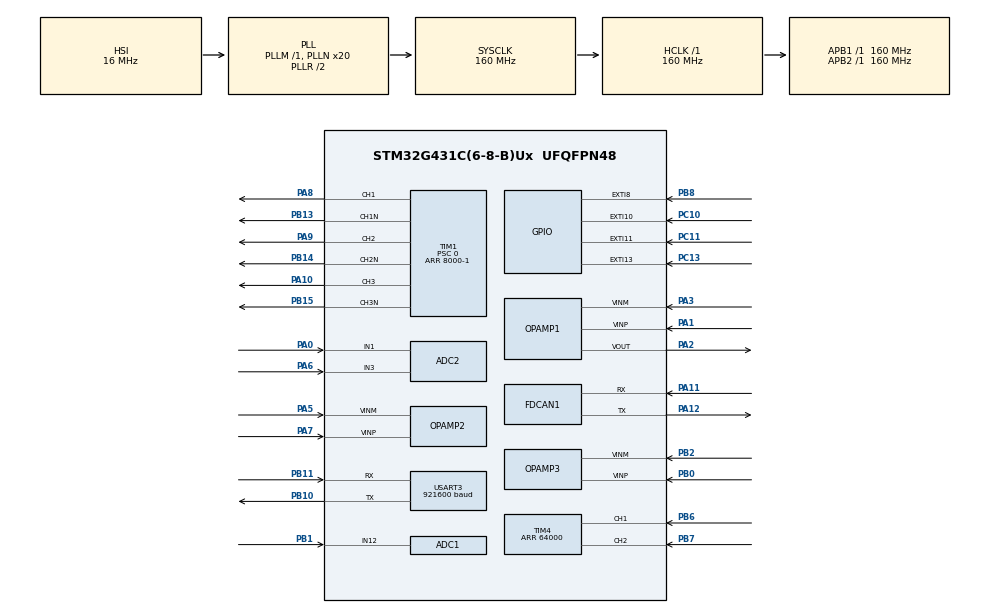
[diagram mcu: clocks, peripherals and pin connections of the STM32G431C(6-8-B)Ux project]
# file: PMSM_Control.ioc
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ADC1.EnableInjectedConversion=ENABLE
ADC1.EnableRegularConversion=DISABLE
ADC1.ExternalTrigInjecConv=ADC_EXTERNALTRIGINJEC_T1_CC4
ADC1.ExternalTrigInjecConvEdge=ADC_EXTERNALTRIGINJECCONV_EDGE_FALLING
ADC1.InjNumberOfConversion=2
ADC1.InjectedChannel-1\#ChannelInjectedConversion=ADC_CHANNEL_3
ADC1.InjectedChannel-2\#ChannelInjectedConversion=ADC_CHANNEL_12
ADC1.InjectedOffsetNumber-1\#ChannelInjectedConversion=ADC_OFFSET_NONE
ADC1.InjectedOffsetNumber-2\#ChannelInjectedConversion=ADC_OFFSET_NONE
ADC1.InjectedRank-1\#ChannelInjectedConversion=1
ADC1.InjectedRank-2\#ChannelInjectedConversion=2
ADC1.InjectedSamplingTime-1\#ChannelInjectedConversion=ADC_SAMPLETIME_24CYCLES_5
ADC1.InjectedSamplingTime-2\#ChannelInjectedConversion=ADC_SAMPLETIME_12CYCLES_5
ADC1.Rank1_Channel=ADC_CHANNEL_3
ADC1.Rank2_Channel=ADC_CHANNEL_12
ADC1.master=1
ADC2.EnableInjectedConversion=ENABLE
ADC2.EnableRegularConversion=DISABLE
ADC2.ExternalTrigInjecConv=ADC_EXTERNALTRIGINJEC_T1_CC4
ADC2.ExternalTrigInjecConvEdge=ADC_EXTERNALTRIGINJECCONV_EDGE_FALLING
ADC2.InjNumberOfConversion=2
ADC2.InjectedChannel-1\#ChannelInjectedConversion=ADC_CHANNEL_3
ADC2.InjectedChannel-3\#ChannelInjectedConversion=ADC_CHANNEL_1
ADC2.InjectedOffsetNumber-1\#ChannelInjectedConversion=ADC_OFFSET_NONE
ADC2.InjectedOffsetNumber-3\#ChannelInjectedConversion=ADC_OFFSET_NONE
ADC2.InjectedRank-1\#ChannelInjectedConversion=1
ADC2.InjectedRank-3\#ChannelInjectedConversion=2
ADC2.InjectedSamplingTime-1\#ChannelInjectedConversion=ADC_SAMPLETIME_24CYCLES_5
ADC2.InjectedSamplingTime-3\#ChannelInjectedConversion=ADC_SAMPLETIME_24CYCLES_5
ADC2.Rank2_Channel=ADC_CHANNEL_1
Dma.Request0=USART3_RX
Dma.Request1=USART3_TX
Dma.USART3_RX.0.Direction=DMA_PERIPH_TO_MEMORY
Dma.USART3_RX.0.EventEnable=DISABLE
Dma.USART3_RX.0.Instance=DMA1_Channel1
Dma.USART3_RX.0.MemDataAlignment=DMA_MDATAALIGN_BYTE
Dma.USART3_RX.0.MemInc=DMA_MINC_ENABLE
Dma.USART3_RX.0.Mode=DMA_NORMAL
Dma.USART3_RX.0.PeriphDataAlignment=DMA_PDATAALIGN_BYTE
Dma.USART3_RX.0.PeriphInc=DMA_PINC_DISABLE
Dma.USART3_RX.0.Polarity=HAL_DMAMUX_REQ_GEN_RISING
Dma.USART3_RX.0.Priority=DMA_PRIORITY_LOW
Dma.USART3_RX.0.RequestNumber=1
Dma.USART3_RX.0.SignalID=NONE
Dma.USART3_RX.0.SyncEnable=DISABLE
Dma.USART3_RX.0.SyncPolarity=HAL_DMAMUX_SYNC_NO_EVENT
Dma.USART3_RX.0.SyncRequestNumber=1
Dma.USART3_RX.0.SyncSignalID=NONE
Dma.USART3_TX.1.Direction=DMA_MEMORY_TO_PERIPH
Dma.USART3_TX.1.EventEnable=DISABLE
Dma.USART3_TX.1.Instance=DMA1_Channel2
Dma.USART3_TX.1.MemDataAlignment=DMA_MDATAALIGN_BYTE
Dma.USART3_TX.1.MemInc=DMA_MINC_ENABLE
Dma.USART3_TX.1.Mode=DMA_NORMAL
Dma.USART3_TX.1.PeriphDataAlignment=DMA_PDATAALIGN_BYTE
Dma.USART3_TX.1.PeriphInc=DMA_PINC_DISABLE
Dma.USART3_TX.1.Polarity=HAL_DMAMUX_REQ_GEN_RISING
Dma.USART3_TX.1.Priority=DMA_PRIORITY_LOW
Dma.USART3_TX.1.RequestNumber=1
Dma.USART3_TX.1.SignalID=NONE
Dma.USART3_TX.1.SyncEnable=DISABLE
Dma.USART3_TX.1.SyncPolarity=HAL_DMAMUX_SYNC_NO_EVENT
Dma.USART3_TX.1.SyncRequestNumber=1
Dma.USART3_TX.1.SyncSignalID=NONE
FDCAN1.CalculateBaudRateNominal=500000
FDCAN1.CalculateTimeBitNominal=2000
FDCAN1.CalculateTimeQuantumNominal=100.0
FDCAN1.ClockDivider=FDCAN_CLOCK_DIV16
FDCAN1.DataTimeSeg1=10
FDCAN1.DataTimeSeg2=7
FDCAN1.NominalPrescaler=1
FDCAN1.NominalTimeSeg1=10
FDCAN1.NominalTimeSeg2=9
FDCAN1.StdFiltersNbr=1
FREERTOS.Tasks01=defaultTask,24,128,StartDefaultTask,Default,NULL,Dynamic,NULL,NULL
Mcu.Family=STM32G4
Mcu.Name=STM32G431C(6-8-B)Ux
Mcu.Package=UFQFPN48
NVIC.ADC1_2_IRQn=true\:5\:0\:true\:false\:true\:true\:true\:true\:true
NVIC.DMA1_Channel1_IRQn=true\:5\:0\:true\:false\:true\:true\:false\:true\:true
NVIC.DMA1_Channel2_IRQn=true\:5\:0\:true\:false\:true\:true\:false\:true\:true
NVIC.EXTI15_10_IRQn=true\:5\:0\:true\:false\:true\:true\:true\:true\:true
NVIC.EXTI9_5_IRQn=true\:5\:0\:true\:false\:true\:true\:true\:true\:true
NVIC.FDCAN1_IT0_IRQn=true\:5\:0\:true\:false\:true\:true\:true\:true\:true
NVIC.FDCAN1_IT1_IRQn=true\:5\:0\:true\:false\:true\:true\:true\:true\:true
NVIC.PriorityGroup=NVIC_PRIORITYGROUP_4
NVIC.TIM1_BRK_TIM15_IRQn=true\:5\:0\:true\:false\:true\:true\:true\:true\:true
NVIC.TIM1_TRG_COM_TIM17_IRQn=true\:5\:0\:true\:false\:true\:false\:false\:true\:true
NVIC.TIM1_UP_TIM16_IRQn=true\:6\:0\:true\:false\:true\:true\:true\:true\:true
NVIC.TimeBase=TIM1_TRG_COM_TIM17_IRQn
NVIC.TimeBaseIP=TIM17
NVIC.USART3_IRQn=true\:5\:0\:true\:false\:true\:true\:true\:true\:true
PA0.Mode=IN1-Single-Ended
PA0.Signal=ADC2_IN1
PA1.Mode=Standalone
PA1.Signal=OPAMP1_VINP
PA10.Signal=S_TIM1_CH3
PA11.Mode=FDCAN_Activate
PA11.Signal=FDCAN1_RX
PA12.Mode=FDCAN_Activate
PA12.Signal=FDCAN1_TX
PA13.Mode=Serial_Wire
PA13.Signal=SYS_JTMS-SWDIO
PA14.Mode=Serial_Wire
PA14.Signal=SYS_JTCK-SWCLK
PA2.Signal=SharedAnalog_PA2
PA3.Mode=Standalone
PA3.Signal=OPAMP1_VINM
PA5.Mode=Standalone
PA5.Signal=OPAMP2_VINM
PA6.Signal=SharedAnalog_PA6
PA7.Mode=Standalone
PA7.Signal=OPAMP2_VINP
PA8.Signal=S_TIM1_CH1
PA9.Signal=S_TIM1_CH2
PB0.Mode=Standalone
PB0.Signal=OPAMP3_VINP
PB1.Signal=SharedAnalog_PB1
PB10.Mode=Asynchronous
PB10.Signal=USART3_TX
PB11.Mode=Asynchronous
PB11.Signal=USART3_RX
PB13.Mode=PWM Generation1 CH1 CH1N
PB13.Signal=TIM1_CH1N
PB14.Mode=PWM Generation2 CH2 CH2N
PB14.Signal=TIM1_CH2N
PB15.Mode=PWM Generation3 CH3 CH3N
PB15.Signal=TIM1_CH3N
PB2.Mode=Standalone
PB2.Signal=OPAMP3_VINM
PB6.Signal=S_TIM4_CH1
PB7.Signal=S_TIM4_CH2
PB8-BOOT0.Signal=GPXTI8
PC10.Signal=GPXTI10
PC11.Signal=GPXTI11
PC13.Signal=GPXTI13
PF0-OSC_IN.Mode=HSE-External-Oscillator
PF0-OSC_IN.Signal=RCC_OSC_IN
PF1-OSC_OUT.Mode=HSE-External-Oscillator
PF1-OSC_OUT.Signal=RCC_OSC_OUT
ProjectManager.HeapSize=0x200
ProjectManager.StackSize=0x400
ProjectManager.TargetToolchain=MDK-ARM V5.32
RCC.ADC12Freq_Value=160000000
RCC.AHBFreq_Value=160000000
RCC.APB1Freq_Value=160000000
RCC.APB1TimFreq_Value=160000000
RCC.APB2Freq_Value=160000000
RCC.APB2TimFreq_Value=160000000
RCC.CortexFreq_Value=160000000
RCC.EXTERNAL_CLOCK_VALUE=12288000
RCC.HCLKFreq_Value=160000000
RCC.HSE_VALUE=8000000
RCC.HSI48_VALUE=48000000
RCC.HSI_VALUE=16000000
RCC.LSE_VALUE=32768
RCC.PLLN=20
RCC.SYSCLKFreq_VALUE=160000000
RCC.SYSCLKSource=RCC_SYSCLKSOURCE_PLLCLK
RCC.USBFreq_Value=160000000
RCC.VCOOutputFreq_Value=320000000
SH.S_TIM1_CH1.0=TIM1_CH1,PWM Generation1 CH1 CH1N
SH.S_TIM1_CH2.0=TIM1_CH2,PWM Generation2 CH2 CH2N
SH.S_TIM1_CH3.0=TIM1_CH3,PWM Generation3 CH3 CH3N
SH.S_TIM4_CH1.0=TIM4_CH1,Encoder_Interface
SH.S_TIM4_CH2.0=TIM4_CH2,Encoder_Interface
SH.SharedAnalog_PA2.0=OPAMP1_VOUT,Standalone
SH.SharedAnalog_PA2.1=ADC1_IN3,IN3-Single-Ended
SH.SharedAnalog_PA6.0=ADC2_IN3,IN3-Single-Ended
SH.SharedAnalog_PA6.1=OPAMP2_VOUT,Standalone
SH.SharedAnalog_PB1.0=ADC1_IN12,IN12-Single-Ended
SH.SharedAnalog_PB1.1=OPAMP3_VOUT,Standalone
STMicroelectronics.X-CUBE-ALGOBUILD.1.4.0.LibraryCcDSPOoLibraryJjDSPOoLibrary=true
TIM1.Channel-PWM\ Generation1\ CH1\ CH1N=TIM_CHANNEL_1
TIM1.Channel-PWM\ Generation2\ CH2\ CH2N=TIM_CHANNEL_2
TIM1.Channel-PWM\ Generation3\ CH3\ CH3N=TIM_CHANNEL_3
TIM1.Channel-PWM\ Generation4\ No\ Output=TIM_CHANNEL_4
TIM1.ClockDivision=TIM_CLOCKDIVISION_DIV2
TIM1.CounterMode=TIM_COUNTERMODE_CENTERALIGNED1
TIM1.DeadTime=120
TIM1.OCMode_PWM-PWM\ Generation4\ No\ Output=TIM_OCMODE_PWM2
TIM1.PeriodNoDither=8000-1
TIM1.Prescaler=0
TIM1.PulseNoDither_4=8000-2
TIM1.RepetitionCounter=1
TIM1.TIM_MasterOutputTrigger=TIM_TRGO_OC4REF
TIM16.PeriodNoDither=1000
TIM16.Prescaler=160
TIM4.EncoderMode=TIM_ENCODERMODE_TI12
TIM4.PeriodNoDither=64000
USART3.BaudRate=921600
USART3.VirtualMode-Asynchronous=VM_ASYNC
VP_FREERTOS_VS_CMSIS_V2.Mode=CMSIS_V2
VP_STMicroelectronics.X-CUBE-ALGOBUILD_VS_DSPOoLibraryJjLibrary_1.4.0_1.4.0.Mode=DSPOoLibraryJjLibrary
VP_SYS_VS_DBSignals.Mode=DisableDeadBatterySignals
VP_SYS_VS_tim17.Mode=TIM17
VP_TIM16_VS_ClockSourceINT.Mode=Enable_Timer
VP_TIM1_VS_ClockSourceINT.Mode=Internal
VP_TIM1_VS_no_output4.Mode=PWM Generation4 No Output
board=custom

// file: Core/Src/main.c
/* USER CODE BEGIN Header */
/**
 ******************************************************************************
 * @file           : main.c
 * @brief          : Main program body
 ******************************************************************************
 * @attention
 *
 * Copyright (c) 2025 STMicroelectronics.
 * All rights reserved.
 *
 * This software is licensed under terms that can be found in the LICENSE file
 * in the root directory of this software component.
 * If no LICENSE file comes with this software, it is provided AS-IS.
 *
 ******************************************************************************
 */
/* USER CODE END Header */
#include "main.h"
#include "cmsis_os.h"
#include "adc.h"
#include "dma.h"
#include "fdcan.h"
#include "opamp.h"
#include "tim.h"
#include "usart.h"
#include "gpio.h"

/* USER CODE BEGIN Includes */
#include "Profiler.h"
/* USER CODE END Includes */

/* USER CODE BEGIN PTD */

volatile uint32_t CPU_RunTime;

/* USER CODE END PTD */

void SystemClock_Config(void);
void MX_FREERTOS_Init(void);

int main(void)
{

  /* MCU Configuration--------------------------------------------------------*/

  /* Reset of all peripherals, Initializes the Flash interface and the Systick. */
  HAL_Init();

  /* Configure the system clock */
  SystemClock_Config();

  /* USER CODE BEGIN SysInit */
  Profiler_Init();  /* 初始化 DWT 周期计数器 (ISR-aware profiler 时基) */
  /* USER CODE END SysInit */

  /* Initialize all configured peripherals */
  MX_GPIO_Init();
  MX_DMA_Init();
  MX_USART3_UART_Init();
  MX_FDCAN1_Init();
  MX_TIM16_Init();
  MX_ADC1_Init();
  MX_ADC2_Init();
  MX_OPAMP1_Init();
  MX_OPAMP2_Init();
  MX_OPAMP3_Init();
  MX_TIM1_Init();
  MX_TIM4_Init();

  /* Init scheduler */
  osKernelInitialize();  /* Call init function for freertos objects (in cmsis_os2.c) */
  MX_FREERTOS_Init();
  Bsp_Init();
  /* Start scheduler */
  osKernelStart();

  /* We should never get here as control is now taken by the scheduler */

  /* Infinite loop */
    while (1)
    {

    /* USER CODE BEGIN 3 */

        // Current_Task_Init();
        // Current_Task_Run();
        HAL_Delay(1000);
    }
  /* USER CODE END 3 */
}

void SystemClock_Config(void)
{
  RCC_OscInitTypeDef RCC_OscInitStruct = {0};
  RCC_ClkInitTypeDef RCC_ClkInitStruct = {0};

  /** Configure the main internal regulator output voltage
  */
  HAL_PWREx_ControlVoltageScaling(PWR_REGULATOR_VOLTAGE_SCALE1_BOOST);

  /** Initializes the RCC Oscillators according to the specified parameters
  * in the RCC_OscInitTypeDef structure.
  */
  RCC_OscInitStruct.OscillatorType = RCC_OSCILLATORTYPE_HSI;
  RCC_OscInitStruct.HSIState = RCC_HSI_ON;
  RCC_OscInitStruct.HSICalibrationValue = RCC_HSICALIBRATION_DEFAULT;
  RCC_OscInitStruct.PLL.PLLState = RCC_PLL_ON;
  RCC_OscInitStruct.PLL.PLLSource = RCC_PLLSOURCE_HSI;
  RCC_OscInitStruct.PLL.PLLM = RCC_PLLM_DIV1;
  RCC_OscInitStruct.PLL.PLLN = 20;
  RCC_OscInitStruct.PLL.PLLP = RCC_PLLP_DIV2;
  RCC_OscInitStruct.PLL.PLLQ = RCC_PLLQ_DIV2;
  RCC_OscInitStruct.PLL.PLLR = RCC_PLLR_DIV2;
  if (HAL_RCC_OscConfig(&RCC_OscInitStruct) != HAL_OK)
  {
    Error_Handler();
  }

  /** Initializes the CPU, AHB and APB buses clocks
  */
  RCC_ClkInitStruct.ClockType = RCC_CLOCKTYPE_HCLK|RCC_CLOCKTYPE_SYSCLK
                              |RCC_CLOCKTYPE_PCLK1|RCC_CLOCKTYPE_PCLK2;
  RCC_ClkInitStruct.SYSCLKSource = RCC_SYSCLKSOURCE_PLLCLK;
  RCC_ClkInitStruct.AHBCLKDivider = RCC_SYSCLK_DIV1;
  RCC_ClkInitStruct.APB1CLKDivider = RCC_HCLK_DIV1;
  RCC_ClkInitStruct.APB2CLKDivider = RCC_HCLK_DIV1;

  if (HAL_RCC_ClockConfig(&RCC_ClkInitStruct, FLASH_LATENCY_4) != HAL_OK)
  {
    Error_Handler();
  }
}

void HAL_TIM_PeriodElapsedCallback(TIM_HandleTypeDef *htim)
{
  if (htim->Instance == TIM17)
  {
    HAL_IncTick();
  }
  /* USER CODE BEGIN Callback 1 */
  if (htim->Instance == TIM16)
  {
    CPU_RunTime++;
    // Speed_Loop_Task();
  }
  /* USER CODE END Callback 1 */
}

void Error_Handler(void)
{
    __disable_irq();
    while (1)
    {
    }
}

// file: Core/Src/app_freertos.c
/* USER CODE BEGIN Header */
/**
 ******************************************************************************
 * File Name          : app_freertos.c
 * Description        : Code for freertos applications
 ******************************************************************************
 * @attention
 *
 * Copyright (c) 2025 STMicroelectronics.
 * All rights reserved.
 *
 * This software is licensed under terms that can be found in the LICENSE file
 * in the root directory of this software component.
 * If no LICENSE file comes with this software, it is provided AS-IS.
 *
 ******************************************************************************
 */
/* USER CODE END Header */

#include "FreeRTOS.h"
#include "task.h"
#include "main.h"
#include "cmsis_os.h"

/* USER CODE BEGIN Includes */
#include "fdcan.h"
#include "usart.h"
#include "gpio.h"
#include "tim.h"
#include "arm_math.h"
#include <main.h>
#include "adc.h"
#include "opamp.h"
#include "Can.h"
/* USER CODE END Includes */

/* Definitions for defaultTask */
osThreadId_t defaultTaskHandle;
const osThreadAttr_t defaultTask_attributes = {
  .name = "defaultTask",
  .priority = (osPriority_t) osPriorityNormal,
  .stack_size = 128 * 4
};

void StartDefaultTask(void *argument);

void MX_FREERTOS_Init(void); /* (MISRA C 2004 rule 8.1) */

void MX_FREERTOS_Init(void) {

  /* Create the thread(s) */
  /* creation of defaultTask */
  defaultTaskHandle = osThreadNew(StartDefaultTask, NULL, &defaultTask_attributes);

}

void StartDefaultTask(void *argument)
{
  /* USER CODE BEGIN StartDefaultTask */
    /* Infinite loop */
    for (;;)
    {
      osDelay(1000);
    }
  /* USER CODE END StartDefaultTask */
}
